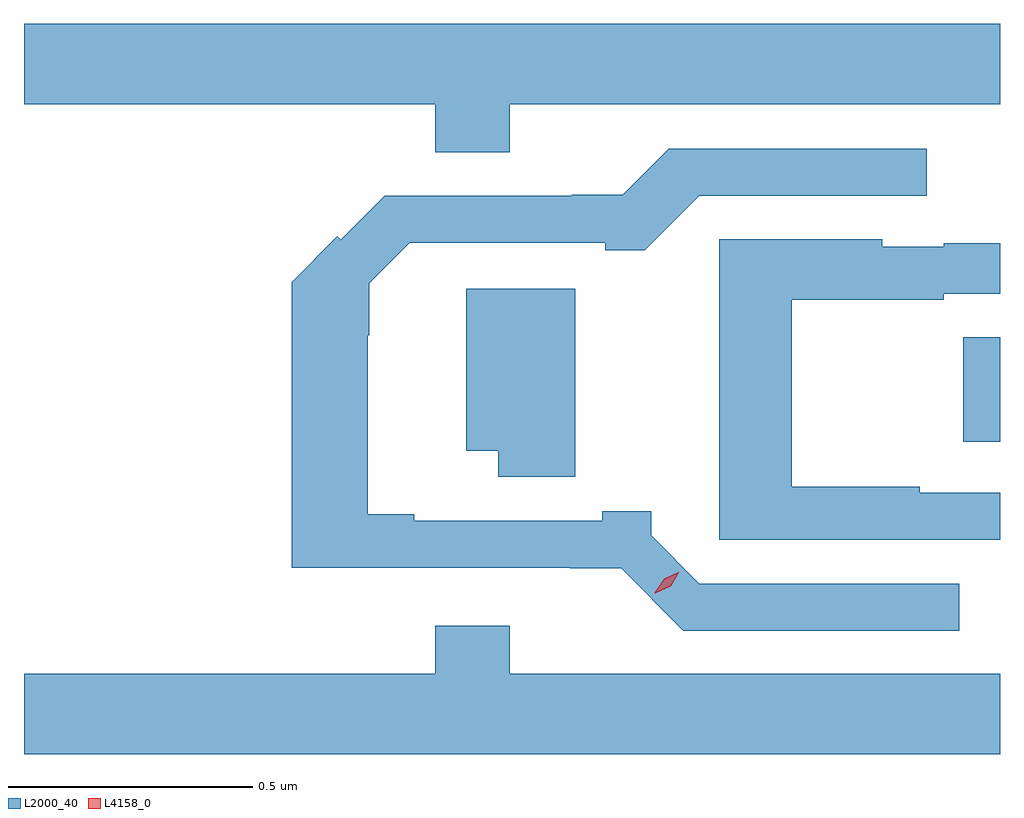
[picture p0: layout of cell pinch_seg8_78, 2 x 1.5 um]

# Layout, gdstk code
import gdstk
lib = gdstk.Library(unit=1e-6, precision=1e-09)
def R(c, l, rs):  # rectangles x0, y0, x1, y1
    for r in rs: c.add(gdstk.rectangle(r[:2], r[2:], *l))
def P(c, l, *ps):  # polygons
    for p in ps: c.add(gdstk.Polygon(p, *l))
L2000_40 = (2000, 40)
L4158_0 = (4158, 0)

pinch_seg8_78 = lib.new_cell('pinch_seg8_78')
R(pinch_seg8_78, L2000_40, [(1031.653,1110.48,1031.728,1110.694)])
P(pinch_seg8_78, L2000_40, [(1030.723,1111.172),(1031.728,1111.172),(1031.728,1111.336),(1029.728,1111.336),(1029.728,1111.172),(1030.571,1111.172),(1030.571,1111.073),(1030.723,1111.073)],
  [(1031.644,1110.189),(1031.112,1110.189),(1031.013,1110.288),(1031.013,1110.338),(1030.913,1110.338),(1030.913,1110.318),(1030.528,1110.318),(1030.528,1110.331),(1030.432,1110.331),(1030.432,1110.698),(1030.435,1110.698),(1030.435,1110.805),(1030.518,1110.888),(1030.919,1110.888),(1030.919,1110.872),(1031,1110.872),(1031.112,1110.984),(1031.578,1110.984),(1031.578,1111.08),(1031.049,1111.08),(1030.955,1110.986),(1030.85,1110.986),(1030.85,1110.984),(1030.467,1110.984),(1030.377,1110.894),(1030.37,1110.901),(1030.277,1110.807),(1030.277,1110.222),(1030.847,1110.222),(1030.847,1110.221),(1030.952,1110.221),(1031.079,1110.093),(1031.644,1110.093)],
  [(1031.728,1110.375),(1031.564,1110.375),(1031.564,1110.388),(1031.301,1110.388),(1031.301,1110.771),(1031.613,1110.771),(1031.613,1110.783),(1031.728,1110.783),(1031.728,1110.887),(1031.613,1110.887),(1031.613,1110.879),(1031.487,1110.879),(1031.487,1110.895),(1031.153,1110.895),(1031.153,1110.279),(1031.728,1110.279)],
  [(1030.858,1110.793),(1030.634,1110.793),(1030.634,1110.461),(1030.7,1110.461),(1030.7,1110.408),(1030.858,1110.408)],
  [(1031.728,1110.004),(1030.723,1110.004),(1030.723,1110.103),(1030.571,1110.103),(1030.571,1110.004),(1029.728,1110.004),(1029.728,1109.84),(1031.728,1109.84)])
P(pinch_seg8_78, L4158_0, [(1031.021,1110.169),(1031.021,1110.17),(1031.04,1110.199),(1031.071,1110.214),(1031.071,1110.214),(1031.071,1110.214),(1031.053,1110.184),(1031.022,1110.169)])

lib.write_gds('pinch_seg8_78.gds')
